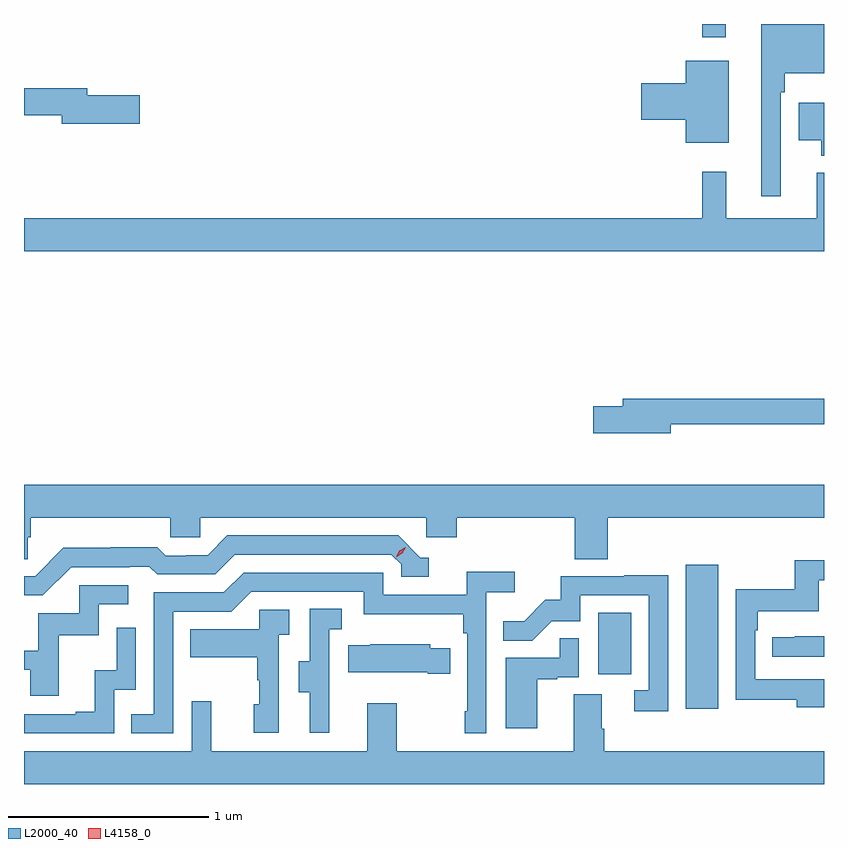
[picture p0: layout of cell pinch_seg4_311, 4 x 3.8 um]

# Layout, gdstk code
import gdstk
lib = gdstk.Library(unit=1e-6, precision=1e-09)
def R(c, l, rs):  # rectangles x0, y0, x1, y1
    for r in rs: c.add(gdstk.rectangle(r[:2], r[2:], *l))
def P(c, l, *ps):  # polygons
    for p in ps: c.add(gdstk.Polygon(p, *l))
L2000_40 = (2000, 40)
L4158_0 = (4158, 0)

pinch_seg4_311 = lib.new_cell('pinch_seg4_311')
R(pinch_seg4_311, L2000_40, [(912.83,793.2,912.991,793.921), (912.392,793.374,912.556,793.681), (912.913,796.557,913.03,796.624)])
P(pinch_seg4_311, L2000_40, [(913.305,796.283),(913.325,796.283),(913.325,796.379),(913.521,796.379),(913.521,796.624),(913.208,796.624),(913.208,795.762),(913.305,795.762)],
  [(913.045,796.441),(912.83,796.441),(912.83,796.328),(912.606,796.328),(912.606,796.145),(912.83,796.145),(912.83,796.031),(913.045,796.031)],
  [(910.099,796.268),(909.838,796.268),(909.838,796.304),(909.521,796.304),(909.521,796.168),(909.71,796.168),(909.71,796.126),(910.099,796.126)],
  [(913.521,796.231),(913.394,796.231),(913.394,796.043),(913.508,796.043),(913.508,795.965),(913.521,795.965)],
  [(913.521,795.88),(913.484,795.88),(913.484,795.652),(913.031,795.652),(913.031,795.886),(912.913,795.886),(912.913,795.652),(909.521,795.652),(909.521,795.488),(913.521,795.488)],
  [(912.754,794.622),(913.521,794.622),(913.521,794.75),(912.515,794.75),(912.515,794.714),(912.366,794.714),(912.366,794.579),(912.754,794.579)],
  [(909.539,794.058),(909.554,794.058),(909.554,794.156),(910.251,794.156),(910.251,794.058),(910.401,794.058),(910.401,794.156),(911.532,794.156),(911.532,794.058),(911.684,794.058),(911.684,794.156),(912.275,794.156),(912.275,793.948),(912.44,793.948),(912.44,794.156),(913.521,794.156),(913.521,794.32),(909.521,794.32),(909.521,793.948),(909.539,793.948)],
  [(909.756,793.908),(910.049,793.908),(910.049,793.911),(910.148,793.911),(910.187,793.872),(910.476,793.872),(910.575,793.971),(911.358,793.971),(911.406,793.923),(911.406,793.86),(911.545,793.86),(911.545,793.956),(911.502,793.956),(911.391,794.067),(910.538,794.067),(910.439,793.968),(910.332,793.968),(910.332,793.965),(910.229,793.965),(910.187,794.008),(909.954,794.008),(909.954,794.005),(909.718,794.005),(909.576,793.863),(909.521,793.863),(909.521,793.767),(909.615,793.767)],
  [(913.521,793.348),(913.489,793.348),(913.489,793.347),(913.176,793.347),(913.176,793.592),(913.19,793.592),(913.19,793.688),(913.495,793.688),(913.495,793.843),(913.521,793.843),(913.521,793.944),(913.374,793.944),(913.374,793.798),(913.08,793.798),(913.08,793.246),(913.385,793.246),(913.385,793.208),(913.521,793.208)],
  [(910.266,793.686),(910.557,793.686),(910.656,793.785),(911.22,793.785),(911.22,793.673),(911.716,793.673),(911.716,793.577),(911.736,793.577),(911.736,793.189),(911.724,793.189),(911.724,793.077),(911.832,793.077),(911.832,793.784),(911.974,793.784),(911.974,793.886),(911.735,793.886),(911.735,793.77),(911.316,793.77),(911.316,793.881),(910.619,793.881),(910.52,793.782),(910.17,793.782),(910.17,793.173),(910.057,793.173),(910.057,793.077),(910.266,793.077)],
  [(912.741,793.868),(912.523,793.868),(912.523,793.863),(912.205,793.863),(912.205,793.746),(912.128,793.746),(912.021,793.639),(911.917,793.639),(911.917,793.54),(912.061,793.54),(912.159,793.638),(912.303,793.638),(912.303,793.767),(912.645,793.767),(912.645,793.293),(912.573,793.293),(912.573,793.188),(912.741,793.188)],
  [(909.695,793.569),(909.894,793.569),(909.894,793.722),(910.042,793.722),(910.042,793.818),(909.798,793.818),(909.798,793.677),(909.593,793.677),(909.593,793.491),(909.521,793.491),(909.521,793.395),(909.551,793.395),(909.551,793.266),(909.695,793.266)],
  [(911.048,793.293),(911.046,793.293),(911.046,793.597),(911.11,793.597),(911.11,793.7),(910.95,793.7),(910.95,793.437),(910.895,793.437),(910.895,793.282),(910.949,793.282),(910.949,793.08),(911.048,793.08)],
  [(910.794,793.571),(910.846,793.571),(910.846,793.695),(910.698,793.695),(910.698,793.597),(910.351,793.597),(910.351,793.457),(910.686,793.457),(910.686,793.343),(910.696,793.343),(910.696,793.224),(910.67,793.224),(910.67,793.08),(910.794,793.08)],
  [(909.972,793.296),(910.08,793.296),(910.08,793.606),(909.984,793.606),(909.984,793.394),(909.875,793.394),(909.875,793.186),(909.779,793.186),(909.779,793.173),(909.521,793.173),(909.521,793.077),(909.972,793.077)],
  [(913.521,793.562),(913.375,793.562),(913.375,793.557),(913.263,793.557),(913.263,793.461),(913.521,793.461)],
  [(912.088,793.347),(912.188,793.347),(912.188,793.359),(912.294,793.359),(912.294,793.553),(912.199,793.553),(912.199,793.455),(911.93,793.455),(911.93,793.104),(912.088,793.104)],
  [(911.651,793.504),(911.553,793.504),(911.553,793.522),(911.251,793.522),(911.251,793.519),(911.143,793.519),(911.143,793.382),(911.54,793.382),(911.54,793.375),(911.651,793.375)],
  [(913.521,792.988),(912.422,792.988),(912.422,793.1),(912.409,793.1),(912.409,793.274),(912.269,793.274),(912.269,792.988),(911.385,792.988),(911.385,793.228),(911.237,793.228),(911.237,792.988),(910.457,792.988),(910.457,793.237),(910.359,793.237),(910.359,792.988),(909.521,792.988),(909.521,792.824),(913.521,792.824)])
P(pinch_seg4_311, L4158_0, [(911.382,793.957),(911.382,793.957),(911.398,793.99),(911.429,794.009),(911.429,794.009),(911.429,794.009),(911.413,793.977),(911.382,793.957)])

lib.write_gds('pinch_seg4_311.gds')
